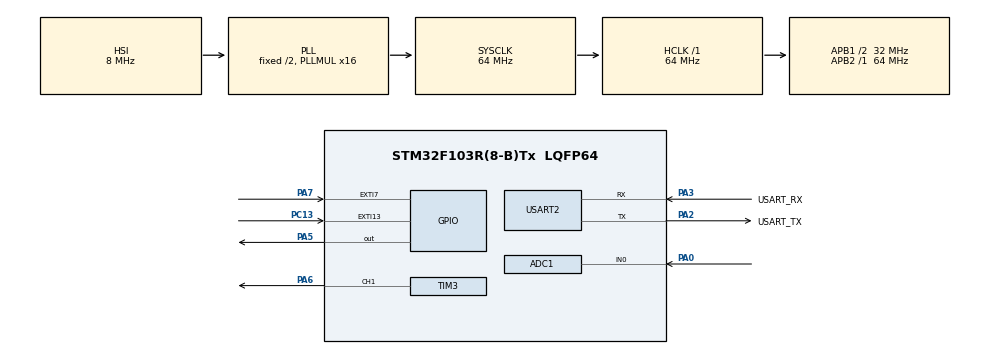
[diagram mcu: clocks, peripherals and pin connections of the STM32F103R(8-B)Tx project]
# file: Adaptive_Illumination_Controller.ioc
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ADC1.Channel-0\#ChannelRegularConversion=ADC_CHANNEL_0
ADC1.NbrOfConversionFlag=1
ADC1.Rank-0\#ChannelRegularConversion=1
ADC1.SamplingTime-0\#ChannelRegularConversion=ADC_SAMPLETIME_55CYCLES_5
ADC1.master=1
Mcu.Family=STM32F1
Mcu.Name=STM32F103R(8-B)Tx
Mcu.Package=LQFP64
NVIC.EXTI15_10_IRQn=true\:0\:0\:false\:false\:true\:true\:true\:true
NVIC.EXTI9_5_IRQn=true\:0\:0\:false\:false\:true\:true\:true\:true
NVIC.PriorityGroup=NVIC_PRIORITYGROUP_4
PA0-WKUP.Signal=ADCx_IN0
PA13.GPIO_Label=TMS
PA13.Mode=Serial_Wire
PA13.Signal=SYS_JTMS-SWDIO
PA14.GPIO_Label=TCK
PA14.Mode=Serial_Wire
PA14.Signal=SYS_JTCK-SWCLK
PA2.GPIO_Label=USART_TX
PA2.GPIO_Mode=GPIO_MODE_AF_PP
PA2.GPIO_PuPd=GPIO_NOPULL
PA2.GPIO_Speed=GPIO_SPEED_FREQ_LOW
PA2.Mode=Asynchronous
PA2.Signal=USART2_TX
PA3.GPIO_Label=USART_RX
PA3.GPIO_Mode=GPIO_MODE_AF_PP
PA3.GPIO_PuPd=GPIO_NOPULL
PA3.GPIO_Speed=GPIO_SPEED_FREQ_LOW
PA3.Mode=Asynchronous
PA3.Signal=USART2_RX
PA5.Signal=GPIO_Output
PA6.Signal=S_TIM3_CH1
PA7.GPIO_ModeDefaultEXTI=GPIO_MODE_IT_FALLING
PA7.Signal=GPXTI7
PB3.GPIO_Label=SWO
PB3.Signal=SYS_JTDO-TRACESWO
PC13-TAMPER-RTC.GPIO_ModeDefaultEXTI=GPIO_MODE_IT_FALLING
PC13-TAMPER-RTC.Signal=GPXTI13
PC14-OSC32_IN.Signal=RCC_OSC32_IN
PC15-OSC32_OUT.Signal=RCC_OSC32_OUT
PD0-OSC_IN.Signal=RCC_OSC_IN
PD1-OSC_OUT.Signal=RCC_OSC_OUT
ProjectManager.HeapSize=0x200
ProjectManager.StackSize=0x400
ProjectManager.TargetToolchain=STM32CubeIDE
RCC.ADCPresc=RCC_ADCPCLK2_DIV6
RCC.AHBFreq_Value=64000000
RCC.APB1CLKDivider=RCC_HCLK_DIV2
RCC.APB1Freq_Value=32000000
RCC.APB1TimFreq_Value=64000000
RCC.APB2Freq_Value=64000000
RCC.APB2TimFreq_Value=64000000
RCC.HCLKFreq_Value=64000000
RCC.PLLMUL=RCC_PLL_MUL16
RCC.SYSCLKFreq_VALUE=64000000
RCC.SYSCLKSource=RCC_SYSCLKSOURCE_PLLCLK
RCC.USBFreq_Value=64000000
SH.ADCx_IN0.0=ADC1_IN0,IN0
SH.S_TIM3_CH1.0=TIM3_CH1,PWM Generation1 CH1
TIM3.Channel-PWM\ Generation1\ CH1=TIM_CHANNEL_1
TIM3.Prescaler=71
USART2.VirtualMode=VM_ASYNC
VP_TIM3_VS_ClockSourceINT.Mode=Internal
board=NUCLEO-F103RB

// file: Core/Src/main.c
/* ============================================================================
 * Project: Adaptive Illumination Controller
 * Board  : STM32 Nucleo-F103RB
 *
 * Description:
 *   This firmware implements a dual-mode LED lighting controller that adapts
 *   LED behavior based on ambient light conditions using an LDR sensor.
 *   The system supports two operating modes, selected via an external
 *   push-button interrupt (EXTI):
 *
 *   Mode 1 – Digital Light Control
 *      • LED acts as a simple ON/OFF lamp
 *      • LED turns ON when ambient light is low (ADC < 1200)
 *      • LED turns OFF when ambient light is high (ADC > 2800)
 *
 *   Mode 2 – PWM Dimming Control
 *      • LED brightness is controlled using TIM3 PWM (CH1 on PA6)
 *      • Brightness scales linearly based on the LDR reading:
 *          - Dark  → 100% duty cycle
 *          - Bright → 0% duty cycle
 *
 *   A UART interface (USART2) provides real-time monitoring of:
 *      • Current mode
 *      • ADC value
 *      • LED/PWM output level
 *
 *   GPIO mode and PWM mode are dynamically switched at runtime depending
 *   on the active mode using dedicated helper functions.
 *
 * Author : Nithin Reddy
 * ============================================================================
 */
/* USER CODE END Header */
#include "main.h"
#include "stdio.h"

/* USER CODE BEGIN PD */
uint32_t adc_value = 0;
uint32_t lastPress = 0;      // debounce timestamp
uint8_t mode = 0;            // 0 = Mode1, 1 = Mode2
uint32_t pwmDuty = 0;        // global for UART printing

/* USER CODE END PD */

ADC_HandleTypeDef hadc1;

TIM_HandleTypeDef htim3;

UART_HandleTypeDef huart2;

void SystemClock_Config(void);
static void MX_GPIO_Init(void);
static void MX_ADC1_Init(void);
static void MX_TIM3_Init(void);
static void MX_USART2_UART_Init(void);
/* USER CODE BEGIN PFP */

/* ---------------------------------------------------------------------------
 * Function: PA6_To_GPIO
 * Purpose : Reconfigure PA6 as a standard Push-Pull GPIO output.
 *
 * Usage:
 *   - Called when entering Mode 1 (digital ON/OFF mode).
 *   - Ensures PA6 is not driven by the timer peripheral.
 *
 * Why Needed:
 *   - PA6 is multiplexed between GPIO and TIM3_CH1.
 *   - CubeMX configures AF (PWM), but runtime mode switching requires
 *     reconfiguring the pin manually.
 * --------------------------------------------------------------------------*/
void PA6_To_GPIO(void)
{
    GPIO_InitTypeDef GPIO_InitStruct = {0};

    GPIO_InitStruct.Pin = GPIO_PIN_6;
    GPIO_InitStruct.Mode = GPIO_MODE_OUTPUT_PP;
    GPIO_InitStruct.Pull = GPIO_NOPULL;
    GPIO_InitStruct.Speed = GPIO_SPEED_FREQ_LOW;

    HAL_GPIO_Init(GPIOA, &GPIO_InitStruct);
}

/* ---------------------------------------------------------------------------
 * Function: PA6_To_PWM
 * Purpose : Reconfigure PA6 as TIM3_CH1 Alternate Function for PWM output.
 *
 * Usage:
 *   - Called when entering Mode 2 (dimming mode).
 *   - Restores the correct pin function and restarts PWM generation.
 *
 * Notes:
 *   - PWM duty cycle is later updated through __HAL_TIM_SET_COMPARE().
 * --------------------------------------------------------------------------*/
void PA6_To_PWM(void)
{
    GPIO_InitTypeDef GPIO_InitStruct = {0};

    // Set PA6 as Alternate Function Push Pull for TIM3_CH1
    GPIO_InitStruct.Pin = GPIO_PIN_6;
    GPIO_InitStruct.Mode = GPIO_MODE_AF_PP;
    GPIO_InitStruct.Speed = GPIO_SPEED_FREQ_HIGH;

    HAL_GPIO_Init(GPIOA, &GPIO_InitStruct);

    HAL_TIM_PWM_Start(&htim3, TIM_CHANNEL_1);
}

/* USER CODE END PFP */

/* USER CODE BEGIN 0 */

/* ---------------------------------------------------------------------------
 * Function: _write
 * Purpose : Redirects printf() output to UART2 for serial monitoring.
 *
 * Notes:
 *   - Enables use of printf() without modifying application logic.
 *   - UART transmission is blocking, which is acceptable for debugging.
 * --------------------------------------------------------------------------*/
int _write(int file, char *ptr, int len)
{
    HAL_UART_Transmit(&huart2, (uint8_t*)ptr, len, HAL_MAX_DELAY);
    return len;
}

/* ---------------------------------------------------------------------------
 * Function: handleMode1
 * Purpose : Implements digital LED control based on ambient light.
 *
 * Behavior:
 *   - ADC < 1200  → LED ON
 *   - ADC > 2800  → LED OFF
 *
 * Notes:
 *   - PWM is explicitly stopped before switching to GPIO mode.
 *   - PA6 is forced into GPIO mode at runtime.
 *   - pwmDuty is updated for UART display consistency.
 * --------------------------------------------------------------------------*/
void handleMode1(uint32_t adc)
{

	HAL_TIM_PWM_Stop(&htim3, TIM_CHANNEL_1);
	PA6_To_GPIO();
    if (adc < 1200)
    {
        HAL_GPIO_WritePin(GPIOA, GPIO_PIN_6, GPIO_PIN_SET); // PA6 as simple GPIO ON
        pwmDuty = 100;
    }
    else if (adc > 2800)
    {
        HAL_GPIO_WritePin(GPIOA, GPIO_PIN_6, GPIO_PIN_RESET); // PA6 OFF
        pwmDuty = 0;
    }
    else{
    	HAL_GPIO_WritePin(GPIOA,GPIO_PIN_6,GPIO_PIN_RESET);
    	pwmDuty = 0;
    }
}

/* ---------------------------------------------------------------------------
 * Function: handleMode2
 * Purpose : Implements PWM dimming based on LDR input.
 *
 * Behavior:
 *   - ADC ≤ 1200 → 100% duty (dark environment)
 *   - ADC ≥ 2800 → 0% duty  (bright environment)
 *   - In-between values will result in 50% brightness.
 *
 * Notes:
 *   - PA6 is forced into PWM mode at runtime.
 *   - PWM frequency and resolution are configured via TIM3.
 *   - Duty cycle is scaled to a 0–100 range for readability.
 * --------------------------------------------------------------------------*/
void handleMode2(uint32_t adc)
{
    uint32_t duty;
    PA6_To_PWM();
    HAL_TIM_PWM_Start(&htim3, TIM_CHANNEL_1);

    if (adc <= 1200)
        duty = 100;
    else if (adc >= 2800)
        duty = 0;
    else
    	duty = 50;

    pwmDuty = duty;
    __HAL_TIM_SET_COMPARE(&htim3, TIM_CHANNEL_1, duty);
}

// ------------ UART Printing ---------------------------
void printStatus(void)
{
    printf("Mode : %d | LDR Value: %lu | LED Brightness: %lu%%\r\n",
           mode + 1,
           adc_value,
           pwmDuty);
}

/* ---------------------------------------------------------------------------
 * Function: HAL_GPIO_EXTI_Callback
 * Purpose : Handles push-button interrupts on PA13 (falling-edge).
 *
 * Behavior:
 *   - Toggles between Mode 1 and Mode 2.
 *   - Implements 200 ms software debounce using HAL_GetTick().
 *
 * Notes:
 *   - Triggered automatically by EXTI line 13 interrupt.
 *   - Prints mode change message via UART.
 * --------------------------------------------------------------------------*/
void HAL_GPIO_EXTI_Callback(uint16_t GPIO_Pin)
{
    if (GPIO_Pin == GPIO_PIN_13)      // PA13 (User Button on Nucleo)
    {
        uint32_t now = HAL_GetTick();

        if (now - lastPress < 200)   // debounce 200 ms
            return;

        lastPress = now;

        mode ^= 1;   // toggle mode
        printf("Mode changed to %d\r\n", mode + 1);
    }
}

/* USER CODE END 0 */

int main(void)
{

  /* MCU Configuration--------------------------------------------------------*/

  /* Reset of all peripherals, Initializes the Flash interface and the Systick. */
  HAL_Init();

  /* Configure the system clock */
  SystemClock_Config();

  /* Initialize all configured peripherals */
  MX_GPIO_Init();
  MX_ADC1_Init();
  MX_TIM3_Init();
  MX_USART2_UART_Init();

  /* Infinite loop */
  while (1)
  {
	  HAL_ADC_Start(&hadc1);
	  HAL_ADC_PollForConversion(&hadc1, HAL_MAX_DELAY);
	  adc_value = HAL_ADC_GetValue(&hadc1);

	         // Applying mode logic
	         if (mode == 0)
	             handleMode1(adc_value);
	         else
	             handleMode2(adc_value);

	         // Printing status
	         printStatus();

	         HAL_Delay(200);

  }
}

void SystemClock_Config(void)
{
  RCC_OscInitTypeDef RCC_OscInitStruct = {0};
  RCC_ClkInitTypeDef RCC_ClkInitStruct = {0};
  RCC_PeriphCLKInitTypeDef PeriphClkInit = {0};

  /** Initializes the RCC Oscillators according to the specified parameters
  * in the RCC_OscInitTypeDef structure.
  */
  RCC_OscInitStruct.OscillatorType = RCC_OSCILLATORTYPE_HSI;
  RCC_OscInitStruct.HSIState = RCC_HSI_ON;
  RCC_OscInitStruct.HSICalibrationValue = RCC_HSICALIBRATION_DEFAULT;
  RCC_OscInitStruct.PLL.PLLState = RCC_PLL_ON;
  RCC_OscInitStruct.PLL.PLLSource = RCC_PLLSOURCE_HSI_DIV2;
  RCC_OscInitStruct.PLL.PLLMUL = RCC_PLL_MUL16;
  if (HAL_RCC_OscConfig(&RCC_OscInitStruct) != HAL_OK)
  {
    Error_Handler();
  }

  /** Initializes the CPU, AHB and APB buses clocks
  */
  RCC_ClkInitStruct.ClockType = RCC_CLOCKTYPE_HCLK|RCC_CLOCKTYPE_SYSCLK
                              |RCC_CLOCKTYPE_PCLK1|RCC_CLOCKTYPE_PCLK2;
  RCC_ClkInitStruct.SYSCLKSource = RCC_SYSCLKSOURCE_PLLCLK;
  RCC_ClkInitStruct.AHBCLKDivider = RCC_SYSCLK_DIV1;
  RCC_ClkInitStruct.APB1CLKDivider = RCC_HCLK_DIV2;
  RCC_ClkInitStruct.APB2CLKDivider = RCC_HCLK_DIV1;

  if (HAL_RCC_ClockConfig(&RCC_ClkInitStruct, FLASH_LATENCY_2) != HAL_OK)
  {
    Error_Handler();
  }
  PeriphClkInit.PeriphClockSelection = RCC_PERIPHCLK_ADC;
  PeriphClkInit.AdcClockSelection = RCC_ADCPCLK2_DIV6;
  if (HAL_RCCEx_PeriphCLKConfig(&PeriphClkInit) != HAL_OK)
  {
    Error_Handler();
  }
}

static void MX_ADC1_Init(void)
{

  ADC_ChannelConfTypeDef sConfig = {0};

  /** Common config
  */
  hadc1.Instance = ADC1;
  hadc1.Init.ScanConvMode = ADC_SCAN_DISABLE;
  hadc1.Init.ContinuousConvMode = DISABLE;
  hadc1.Init.DiscontinuousConvMode = DISABLE;
  hadc1.Init.ExternalTrigConv = ADC_SOFTWARE_START;
  hadc1.Init.DataAlign = ADC_DATAALIGN_RIGHT;
  hadc1.Init.NbrOfConversion = 1;
  if (HAL_ADC_Init(&hadc1) != HAL_OK)
  {
    Error_Handler();
  }

  /** Configure Regular Channel
  */
  sConfig.Channel = ADC_CHANNEL_0;
  sConfig.Rank = ADC_REGULAR_RANK_1;
  sConfig.SamplingTime = ADC_SAMPLETIME_55CYCLES_5;
  if (HAL_ADC_ConfigChannel(&hadc1, &sConfig) != HAL_OK)
  {
    Error_Handler();
  }

}

static void MX_TIM3_Init(void)
{

  TIM_ClockConfigTypeDef sClockSourceConfig = {0};
  TIM_MasterConfigTypeDef sMasterConfig = {0};
  TIM_OC_InitTypeDef sConfigOC = {0};

  htim3.Instance = TIM3;
  htim3.Init.Prescaler = 71;
  htim3.Init.CounterMode = TIM_COUNTERMODE_UP;
  htim3.Init.Period = 100;
  htim3.Init.ClockDivision = TIM_CLOCKDIVISION_DIV1;
  htim3.Init.AutoReloadPreload = TIM_AUTORELOAD_PRELOAD_DISABLE;
  if (HAL_TIM_Base_Init(&htim3) != HAL_OK)
  {
    Error_Handler();
  }
  sClockSourceConfig.ClockSource = TIM_CLOCKSOURCE_INTERNAL;
  if (HAL_TIM_ConfigClockSource(&htim3, &sClockSourceConfig) != HAL_OK)
  {
    Error_Handler();
  }
  if (HAL_TIM_PWM_Init(&htim3) != HAL_OK)
  {
    Error_Handler();
  }
  sMasterConfig.MasterOutputTrigger = TIM_TRGO_RESET;
  sMasterConfig.MasterSlaveMode = TIM_MASTERSLAVEMODE_DISABLE;
  if (HAL_TIMEx_MasterConfigSynchronization(&htim3, &sMasterConfig) != HAL_OK)
  {
    Error_Handler();
  }
  sConfigOC.OCMode = TIM_OCMODE_PWM1;
  sConfigOC.Pulse = 0;
  sConfigOC.OCPolarity = TIM_OCPOLARITY_HIGH;
  sConfigOC.OCFastMode = TIM_OCFAST_DISABLE;
  if (HAL_TIM_PWM_ConfigChannel(&htim3, &sConfigOC, TIM_CHANNEL_1) != HAL_OK)
  {
    Error_Handler();
  }
  HAL_TIM_MspPostInit(&htim3);

}

static void MX_USART2_UART_Init(void)
{

  huart2.Instance = USART2;
  huart2.Init.BaudRate = 115200;
  huart2.Init.WordLength = UART_WORDLENGTH_8B;
  huart2.Init.StopBits = UART_STOPBITS_1;
  huart2.Init.Parity = UART_PARITY_NONE;
  huart2.Init.Mode = UART_MODE_TX_RX;
  huart2.Init.HwFlowCtl = UART_HWCONTROL_NONE;
  huart2.Init.OverSampling = UART_OVERSAMPLING_16;
  if (HAL_UART_Init(&huart2) != HAL_OK)
  {
    Error_Handler();
  }

}

static void MX_GPIO_Init(void)
{
  GPIO_InitTypeDef GPIO_InitStruct = {0};

  /* GPIO Ports Clock Enable */
  __HAL_RCC_GPIOC_CLK_ENABLE();
  __HAL_RCC_GPIOD_CLK_ENABLE();
  __HAL_RCC_GPIOA_CLK_ENABLE();
  __HAL_RCC_GPIOB_CLK_ENABLE();

  /*Configure GPIO pin Output Level */
  HAL_GPIO_WritePin(GPIOA, GPIO_PIN_5, GPIO_PIN_RESET);

  /*Configure GPIO pin : PC13 */
  GPIO_InitStruct.Pin = GPIO_PIN_13;
  GPIO_InitStruct.Mode = GPIO_MODE_IT_FALLING;
  GPIO_InitStruct.Pull = GPIO_NOPULL;
  HAL_GPIO_Init(GPIOC, &GPIO_InitStruct);

  /*Configure GPIO pin : PA5 */
  GPIO_InitStruct.Pin = GPIO_PIN_5;
  GPIO_InitStruct.Mode = GPIO_MODE_OUTPUT_PP;
  GPIO_InitStruct.Pull = GPIO_NOPULL;
  GPIO_InitStruct.Speed = GPIO_SPEED_FREQ_LOW;
  HAL_GPIO_Init(GPIOA, &GPIO_InitStruct);

  /*Configure GPIO pin : PA7 */
  GPIO_InitStruct.Pin = GPIO_PIN_7;
  GPIO_InitStruct.Mode = GPIO_MODE_IT_FALLING;
  GPIO_InitStruct.Pull = GPIO_NOPULL;
  HAL_GPIO_Init(GPIOA, &GPIO_InitStruct);

  /* EXTI interrupt init*/
  HAL_NVIC_SetPriority(EXTI9_5_IRQn, 0, 0);
  HAL_NVIC_EnableIRQ(EXTI9_5_IRQn);

  HAL_NVIC_SetPriority(EXTI15_10_IRQn, 0, 0);
  HAL_NVIC_EnableIRQ(EXTI15_10_IRQn);

}

void Error_Handler(void)
{
  __disable_irq();
  while (1)
  {
  }
}
